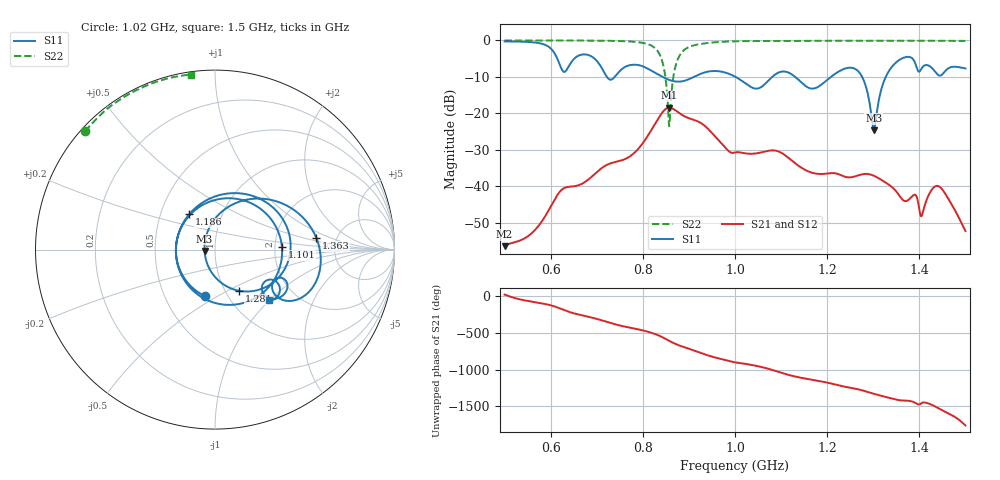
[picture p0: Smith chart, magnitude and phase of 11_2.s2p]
! TOUCHSTONE file generated by CST MICROWAVE STUDIO
! Date and time: Mon Nov 30 09:07:11 2020
! Project name: Scenario_1_Planar_Body_Tissue_Out_of_Line_v2.cst
! Parameters = {dy1=-173; L_HA=400; Ltissue=700; MT=2.54; Rad_Dielectric=30; Rad_Lower=7.3; Rad_Upper=30; Wtissue=700; a_HA=580; a_WG=246; b_HA=500; b_WG=121; c_HA=0; c_WG=187; d_feed=85; dx1=346; h_feed=15; h_lower=18; h_upper=40; hfat=3; hgap=25; hmuscle=50; hskin=1.5}
! Header version: 2018
! Port assignment regex: !\s*Touchstone port\s*([0-9]+)\s*=\s*(CST MWS port|CST DS port)\s*([0-9]+|Zmin|Zmax)\s*\(\"(.*)\"\)(\s*mode\s*([0-9]+))?.*
! Touchstone port assignment:
! Touchstone port 1 = CST MWS port 1 ("")
! Touchstone port 2 = CST MWS port 2 ("")
# GHz S DB R 50
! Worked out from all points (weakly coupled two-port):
!   1003 points, 500 MHz to 1.5 GHz, reference 50 ohm
!   highest |S21| = -18.44 dB at 857 MHz (marker M1); lowest = -56.5 dB at 500 MHz (marker M2)
!   lowest |S11| = -24.6 dB at 1.301 GHz (marker M3), VSWR 1.12, Z = 44.5 - j0.732 ohm
!   |S11| at or under -10 dB: 842.8 MHz to 911 MHz (68.19 MHz wide, 7.78 % of centre); 1.001 GHz to 1.081 GHz (79.81 MHz wide, 7.67 % of centre); 1.13 GHz to 1.208 GHz (77.88 MHz wide, 6.66 % of centre) (the widest 3 of 5)
!   |S22| runs from -23.5 to 0.0 dB; largest |S21 - S12| = 6.3e-06
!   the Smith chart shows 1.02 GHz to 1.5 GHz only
!   S11 on the Smith chart (normalised r, x): 1.02 GHz: 0.78, -0.44; 1.101 GHz: 2.19, +0.08; 1.186 GHz: 0.70, +0.29; 1.281 GHz: 1.16, -0.57; 1.363 GHz: 3.50, +0.67; 1.5 GHz: 1.46, -0.99
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0.5  -0.26 -121.8  -56.48 25.4  -56.48 25.4  -0.01 151.1
0.667  -3.90 157.5  -39.40 103.3  -39.40 103.3  -0.04 138.4
0.717  -8.96 28.8  -34.50 20.9  -34.50 20.9  -0.09 132.7
0.741  -9.69 -96.1  -33.37 -23.3  -33.37 -23.3  -0.14 129.1
0.77  -6.84 175.9  -31.99 -64.6  -31.99 -64.6  -0.28 123.1
0.834  -9.40 38.6  -21.33 -173.1  -21.33 -173.1  -3.28 83.0
0.857  -10.83 -19.3  -18.44 113.6  -18.44 113.6  -23.53 -38.1
0.895  -10.88 -135.4  -21.10 14.6  -21.10 14.6  -2.15 170.9
0.94  -8.60 85.0  -24.09 -83.3  -24.09 -83.3  -0.72 151.5
1  -9.93 -55.6  -30.73 178.8  -30.73 178.8  -0.24 140.3
1.02  -11.55 -102.6  -30.96 160.6  -30.96 160.6  -0.19 137.7
1.072  -11.09 88.0  -30.31 91.5  -30.31 91.5  -0.15 132.2
1.101  -8.57 2.4  -30.88 34.8  -30.88 34.8  -0.12 129.6
1.167  -13.23 178.5  -36.31 -59.0  -36.31 -59.0  -0.10 124.2
1.186  -12.27 126.2  -36.67 -80.3  -36.67 -80.3  -0.10 122.7
1.248  -7.49 10.9  -37.60 -164.9  -37.60 -164.9  -0.08 118.0
1.281  -11.48 -59.5  -36.65 147.1  -36.65 147.1  -0.09 115.5
1.301  -24.63 -172.0  -37.14 109.8  -37.14 109.8  -0.09 114.0
1.334  -8.41 48.5  -39.61 54.8  -39.61 54.8  -0.08 111.5
1.363  -4.91 6.5  -43.63 17.7  -43.63 17.7  -0.08 109.3
1.442  -9.58 -37.7  -40.03 -90.7  -40.03 -90.7  -0.11 102.9
1.5  -7.69 -43.2  -52.32 36.5  -52.32 36.5  -0.13 98.0
